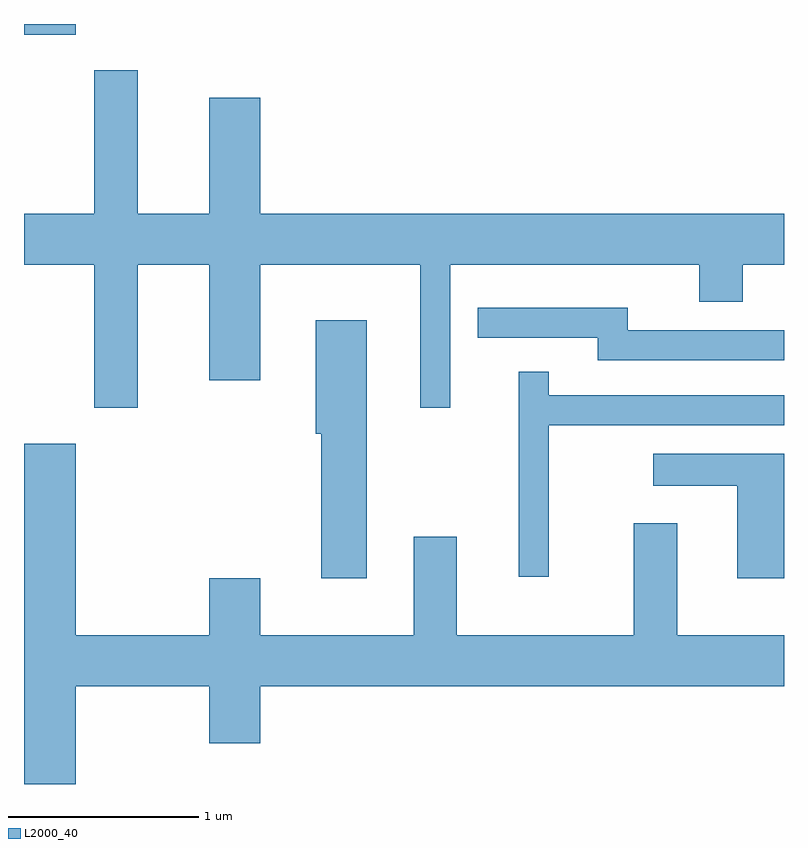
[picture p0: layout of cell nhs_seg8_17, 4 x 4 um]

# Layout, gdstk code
import gdstk
lib = gdstk.Library(unit=1e-6, precision=1e-09)
def R(c, l, rs):  # rectangles x0, y0, x1, y1
    for r in rs: c.add(gdstk.rectangle(r[:2], r[2:], *l))
def P(c, l, *ps):  # polygons
    for p in ps: c.add(gdstk.Polygon(p, *l))
L2000_40 = (2000, 40)

nhs_seg8_17 = lib.new_cell('nhs_seg8_17')
R(nhs_seg8_17, L2000_40, [(185.611,1844.286,185.884,1844.342)])
P(nhs_seg8_17, L2000_40, [(186.209,1843.076),(186.586,1843.076),(186.586,1842.466),(186.854,1842.466),(186.854,1843.076),(187.696,1843.076),(187.696,1842.323),(187.854,1842.323),(187.854,1843.076),(189.166,1843.076),(189.166,1842.881),(189.394,1842.881),(189.394,1843.076),(189.611,1843.076),(189.611,1843.344),(186.854,1843.344),(186.854,1843.954),(186.586,1843.954),(186.586,1843.344),(186.209,1843.344),(186.209,1844.099),(185.981,1844.099),(185.981,1843.344),(185.611,1843.344),(185.611,1843.076),(185.981,1843.076),(185.981,1842.321),(186.209,1842.321)],
  [(189.611,1842.729),(188.789,1842.729),(188.789,1842.849),(187.998,1842.849),(187.998,1842.691),(188.631,1842.691),(188.631,1842.571),(189.611,1842.571)],
  [(187.414,1842.784),(187.146,1842.784),(187.146,1842.186),(187.176,1842.186),(187.176,1841.426),(187.414,1841.426)],
  [(188.374,1842.231),(189.611,1842.231),(189.611,1842.389),(188.374,1842.389),(188.374,1842.513),(188.216,1842.513),(188.216,1841.433),(188.374,1841.433)],
  [(185.884,1840.856),(186.586,1840.856),(186.586,1840.556),(186.854,1840.556),(186.854,1840.856),(189.611,1840.856),(189.611,1841.124),(189.049,1841.124),(189.049,1841.714),(188.821,1841.714),(188.821,1841.124),(187.889,1841.124),(187.889,1841.644),(187.661,1841.644),(187.661,1841.124),(186.854,1841.124),(186.854,1841.424),(186.586,1841.424),(186.586,1841.124),(185.884,1841.124),(185.884,1842.134),(185.611,1842.134),(185.611,1840.342),(185.884,1840.342)],
  [(189.611,1842.079),(188.923,1842.079),(188.923,1841.911),(189.366,1841.911),(189.366,1841.426),(189.611,1841.426)])

lib.write_gds('nhs_seg8_17.gds')
